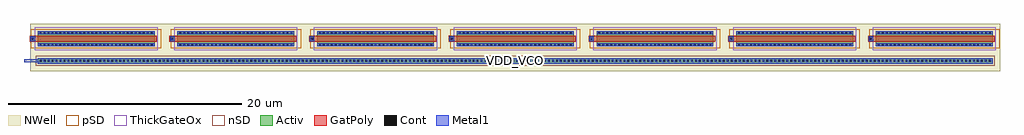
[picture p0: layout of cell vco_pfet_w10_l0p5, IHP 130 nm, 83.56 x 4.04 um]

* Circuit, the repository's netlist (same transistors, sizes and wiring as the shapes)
* extracted by klt extract --deck sg13cmos5l

* cell vco_pfet_w10_l0p5
* pin VDD_VCO
.SUBCKT vco_pfet_w10_l0p5 VDD_VCO
* device instance $1 r0 *1 6.3,3.11 pfet
X$1 \$16 \$2 \$3 VDD_VCO sg13_hv_pmos L=0.5U W=10U AS=4P AD=4P PS=20.8U PD=20.8U
* device instance $2 r0 *1 18.26,3.11 pfet
X$2 \$17 \$4 \$5 VDD_VCO sg13_hv_pmos L=0.5U W=10U AS=4P AD=4P PS=20.8U PD=20.8U
* device instance $3 r0 *1 30.22,3.11 pfet
X$3 \$18 \$6 \$7 VDD_VCO sg13_hv_pmos L=0.5U W=10U AS=4P AD=4P PS=20.8U PD=20.8U
* device instance $4 r0 *1 42.18,3.11 pfet
X$4 \$19 \$8 \$9 VDD_VCO sg13_hv_pmos L=0.5U W=10U AS=4P AD=4P PS=20.8U PD=20.8U
* device instance $5 r0 *1 54.14,3.11 pfet
X$5 \$20 \$10 \$11 VDD_VCO sg13_hv_pmos L=0.5U W=10U AS=4P AD=4P PS=20.8U
+ PD=20.8U
* device instance $6 r0 *1 66.1,3.11 pfet
X$6 \$21 \$12 \$13 VDD_VCO sg13_hv_pmos L=0.5U W=10U AS=4P AD=4P PS=20.8U
+ PD=20.8U
* device instance $7 r0 *1 78.06,3.11 pfet
X$7 \$22 \$14 \$15 VDD_VCO sg13_hv_pmos L=0.5U W=10U AS=4P AD=4P PS=20.8U
+ PD=20.8U
.ENDS vco_pfet_w10_l0p5

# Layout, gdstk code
import gdstk
lib = gdstk.Library(unit=1e-6, precision=1e-09)
def R(c, l, rs):  # rectangles x0, y0, x1, y1
    for r in rs: c.add(gdstk.rectangle(r[:2], r[2:], *l))
def A(c, l, x, y, w, h, nx, ny, dx, dy):  # array of equal rectangles
    R(c, l, [(x+i*dx, y+j*dy, x+i*dx+w, y+j*dy+h) for i in range(nx) for j in range(ny)])
Activ = (1, 0)
GatPoly = (5, 0)
Cont = (6, 0)
nSD = (7, 0)
Metal1 = (8, 0)
pSD = (14, 0)
NWell = (31, 0)
ThickGateOx = (44, 0)

vco_pfet_w10_l0p5 = lib.new_cell('vco_pfet_w10_l0p5')
A(vco_pfet_w10_l0p5, Activ, 1.3, 2.46, 10, 1.3, 7, 1, 11.96, 0)
R(vco_pfet_w10_l0p5, Activ, [(1.3,0.96,83.06,1.46)])
A(vco_pfet_w10_l0p5, GatPoly, 0.62, 2.86, 0.5, 0.5, 7, 1, 11.96, 0)
A(vco_pfet_w10_l0p5, GatPoly, 1.12, 2.86, 10.36, 0.5, 7, 1, 11.96, 0)
A(vco_pfet_w10_l0p5, Cont, 1.47, 1.13, 0.16, 0.16, 240, 1, 0.34, 0)
A(vco_pfet_w10_l0p5, Cont, 1.46, 2.53, 0.16, 0.16, 29, 2, 0.34, 1)
A(vco_pfet_w10_l0p5, Cont, 13.42, 2.53, 0.16, 0.16, 29, 2, 0.34, 1)
A(vco_pfet_w10_l0p5, Cont, 25.38, 2.53, 0.16, 0.16, 29, 2, 0.34, 1)
A(vco_pfet_w10_l0p5, Cont, 37.34, 2.53, 0.16, 0.16, 29, 2, 0.34, 1)
A(vco_pfet_w10_l0p5, Cont, 49.3, 2.53, 0.16, 0.16, 29, 2, 0.34, 1)
A(vco_pfet_w10_l0p5, Cont, 61.26, 2.53, 0.16, 0.16, 29, 2, 0.34, 1)
A(vco_pfet_w10_l0p5, Cont, 73.22, 2.53, 0.16, 0.16, 29, 2, 0.34, 1)
A(vco_pfet_w10_l0p5, Cont, 0.79, 3.03, 0.16, 0.16, 7, 1, 11.96, 0)
R(vco_pfet_w10_l0p5, nSD, [(1.12,0.78,83.24,1.64)])
A(vco_pfet_w10_l0p5, Metal1, 1.3, 2.46, 10, 0.26, 7, 2, 11.96, 1.04)
A(vco_pfet_w10_l0p5, Metal1, 0.67, 2.91, 0.4, 0.4, 7, 1, 11.96, 0)
R(vco_pfet_w10_l0p5, Metal1, [(1.3,0.96,83.06,1.46), (0.125,1.085,1.3,1.335)])
A(vco_pfet_w10_l0p5, pSD, 0.72, 2.28, 11.16, 1.66, 7, 1, 11.96, 0)
R(vco_pfet_w10_l0p5, NWell, [(0.68,0.34,83.68,4.38)])
A(vco_pfet_w10_l0p5, ThickGateOx, 1.03, 2.12, 10.54, 1.98, 7, 1, 11.96, 0)
vco_pfet_w10_l0p5.add(gdstk.Label('VDD_VCO', (42.18,1.21), layer=8, texttype=2))
vco_pfet_w10_l0p5.add(gdstk.Label('VDD_VCO', (42.18,2.36), layer=31, texttype=2))

lib.write_gds('vco_pfet_w10_l0p5.gds')
